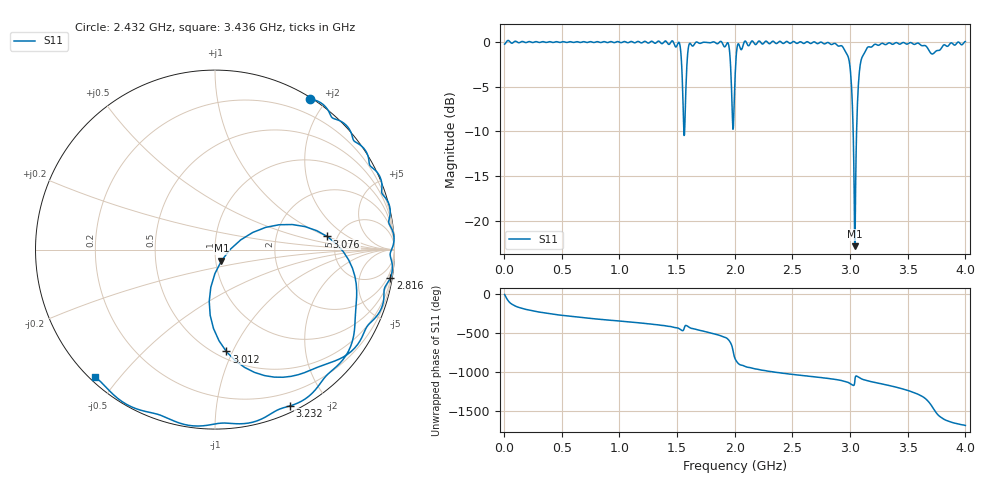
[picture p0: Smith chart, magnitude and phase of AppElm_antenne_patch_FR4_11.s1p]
! TOUCHSTONE file generated by CST MICROWAVE STUDIO
! Date and time: Tue Jun  7 19:07:23 2022
! Project name: AppElm_antenne_patch_FR4.cst
! Parameters = {L=45; W=73.125; e=0.035; h=1.6; lambda=0.190476; ls=120; w0=1.6; w1=0.533333; ws=120; y0=20; y1=23.8095}
! Header version: 2018
! Port assignment regex: !\s*Touchstone port\s*([0-9]+)\s*=\s*(CST MWS port|CST DS port)\s*([0-9]+|Zmin|Zmax)\s*\(\"(.*)\"\)(\s*mode\s*([0-9]+))?.*
! Touchstone port assignment:
! Touchstone port 1 = CST MWS port 1 ("")
# GHz S MA R 50
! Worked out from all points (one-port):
!   1000 points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, 4 MHz to 4 GHz, reference 50 ohm
!   lowest |S11| = -22.9 dB at 3.04 GHz (marker M1), VSWR 1.16, Z = 53.3 - j6.68 ohm
!   |S11| at or under -10 dB: 1.558703 GHz to 1.565015 GHz (6.312 MHz wide, 0.404 % of centre); 3.027 GHz to 3.056 GHz (29.94 MHz wide, 0.984 % of centre)
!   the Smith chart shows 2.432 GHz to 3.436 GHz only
!   S11 on the Smith chart (normalised r, x): 2.432 GHz: 0.02, +1.81; 2.816 GHz: 1, -13; 3.012 GHz: 0.56, -0.95; 3.076 GHz: 4.14, +1.00; 3.232 GHz: 0.06, -1.58; 3.436 GHz: 0.02, -0.43
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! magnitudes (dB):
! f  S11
! 4 MHz  -0.2
! 504 MHz  0.0
! 1.004 GHz  0.0
! 1.504 GHz  -0.2
! 1.524 GHz  -0.3
! 1.56 GHz  -10.5
! 1.6 GHz  -0.5
! 1.62 GHz  -0.2
! 1.932 GHz  -0.1
! 1.952 GHz  -0.7
! 1.98 GHz  -8.6
! 2.004 GHz  -3.5
! 2.036 GHz  -0.3
! 2.432 GHz  -0.1
! 2.504 GHz  0.0
! 2.816 GHz  -0.1
! 2.952 GHz  -0.9
! 3.004 GHz  -3.4
! 3.012 GHz  -4.9
! 3.028 GHz  -10.8
! 3.04 GHz  -22.9
! 3.056 GHz  -10.2
! 3.076 GHz  -4.0
! 3.116 GHz  -1.4
! 3.232 GHz  -0.3
! 3.436 GHz  -0.2
! 3.504 GHz  -0.2
! 4 GHz  0.1
